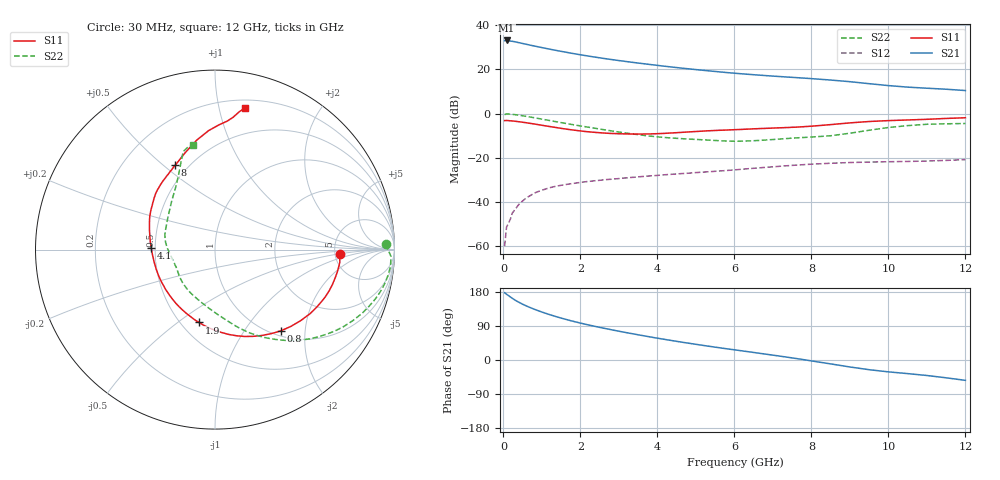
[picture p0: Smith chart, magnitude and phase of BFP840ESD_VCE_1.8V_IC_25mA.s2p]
! Infineon Technologies  Discrete & RF Semiconductors
! BFP840ESD
! VCE =  1.8 V,  IC =  25 mA
! Common Emitter S-Parameters:  May 2012
# GHz  S  MA  R  50
!  f  S11  S21  S12  S22
! GHz  MAG  ANG  MAG  ANG  MAG  ANG  MAG  ANG
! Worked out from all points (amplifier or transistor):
!   93 points, 30 MHz to 12 GHz, reference 50 ohm
!   highest |S21| = 33.1 dB at 80 MHz (marker M1)
!   |S21| within 3 dB of that: start of sweep to 936.5 MHz
!   unconditionally stable (mu >= 1): 4.618 GHz to 7.891 GHz
!   at 1.1 GHz: K = 0.45, MSG = 31.8 dB, |S12| = -34.1 dB
!   at 4.2 GHz: K = 0.97, MSG = 24.5 dB, |S12| = -27.7 dB
!   at 12 GHz: K = 0.74, MSG = 15.6 dB, |S12| = -20.8 dB
!   S11 on the Smith chart (normalised r, x): 30 MHz: 5.51, -0.57; 800 MHz: 1.09, -1.50; 1.9 GHz: 0.61, -0.60; 4.1 GHz: 0.48, +0.01; 8 GHz: 0.43, +0.55; 12 GHz: 0.27, +1.20
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0.03  0.6956 -2.2  44.61 177.5  0.001 111.2  0.9515 1.8
0.08  0.6991 -5.9  45.33 173.6  0.0027 90.0  0.9818 -2.3
0.23  0.6822 -16.8  43.35 162.8  0.0056 79.2  0.9649 -11.2
0.28  0.6757 -20.1  42.63 159.4  0.0064 77.2  0.9538 -13.7
0.38  0.6588 -26.6  40.72 153.5  0.0084 74.1  0.9271 -18.3
0.5  0.639 -33.9  38.67 147.1  0.0106 71.7  0.8934 -23.4
0.6  0.62 -39.7  37.02 142.4  0.0125 69.9  0.8645 -27.2
0.8  0.5832 -50.8  33.96 134.0  0.0159 64.3  0.8071 -34.2
1  0.5454 -61.3  31.25 126.5  0.0185 59.7  0.7512 -40.4
1.3  0.4947 -76.0  27.71 116.6  0.0221 54.8  0.6724 -48.7
1.6  0.4514 -89.5  24.76 107.8  0.0247 50.7  0.6039 -56.0
1.9  0.4156 -102.5  22.25 99.9  0.027 47.2  0.5448 -62.5
2.1  0.3962 -110.6  20.8 95.0  0.0285 45.6  0.5101 -66.5
2.5  0.3698 -126.3  18.34 86.1  0.031 43.3  0.4481 -73.9
3  0.3501 -144.7  15.89 75.9  0.0339 40.9  0.3835 -83.3
4.1  0.3548 178.8  12.07 55.9  0.0407 36.9  0.2927 -109.5
5  0.394 158.0  9.928 41.4  0.0463 33.5  0.2602 -132.2
6.1  0.4363 142.1  8.086 25.5  0.0542 30.1  0.2383 -158.2
8  0.5198 115.2  6.2 -2.4  0.0717 17.5  0.295 160.1
8.5  0.5643 107.2  5.759 -10.3  0.0753 13.3  0.3157 146.6
10.5  0.7188 84.6  3.981 -35.9  0.0828 -2.2  0.5357 110.4
12  0.8066 78.1  3.334 -53.7  0.091 -9.9  0.5973 101.9
